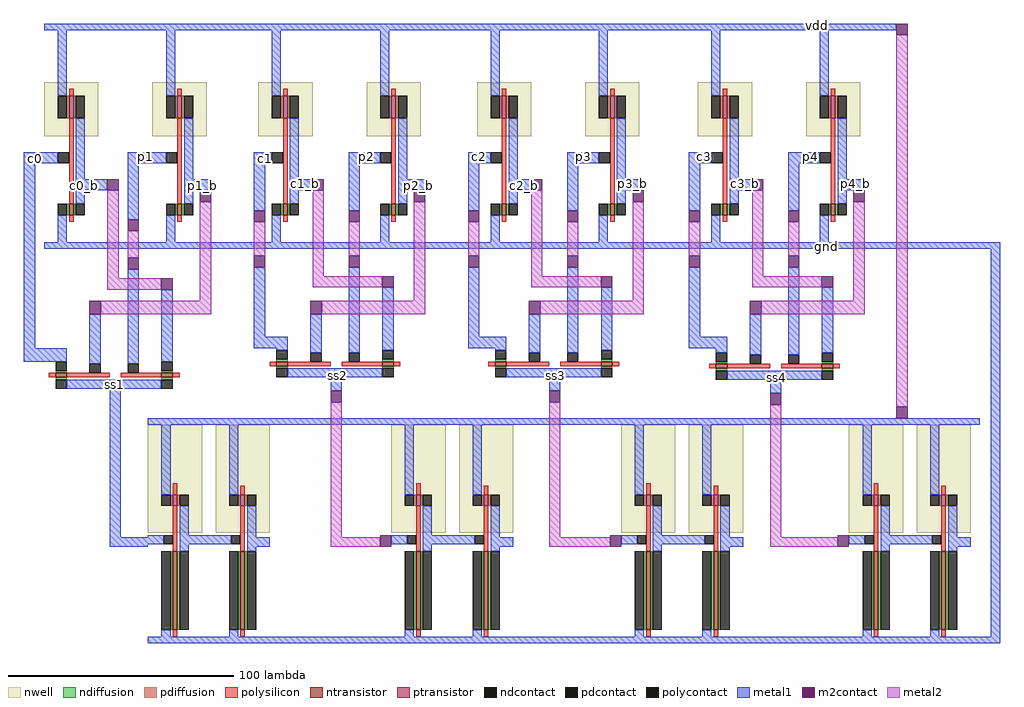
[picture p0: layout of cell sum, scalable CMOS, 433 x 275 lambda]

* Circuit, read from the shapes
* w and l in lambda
.subckt sum c0 c1 c1_b c2 c2_b c3 c3_b gnd p1 p2 p2_b p3 p3_b p4 p4_b vdd
M1 c0 n1 n2 VSUBS nfet w=5 l=2
M2 n3 c0 gnd VSUBS nfet w=5 l=2
M3 n3 p1 n2 VSUBS nfet w=5 l=2
M4 n4 n2 gnd VSUBS nfet w=35 l=2
M5 n1 p1 gnd VSUBS nfet w=5 l=2
M6 n5 n4 gnd VSUBS nfet w=35 l=2
M7 c1 p2_b n6 VSUBS nfet w=5 l=2
M8 c1_b c1 gnd VSUBS nfet w=5 l=2
M9 c1_b p2 n6 VSUBS nfet w=5 l=2
M10 p2_b p2 gnd VSUBS nfet w=5 l=2
M11 n7 n6 gnd VSUBS nfet w=35 l=2
M12 n8 n7 gnd VSUBS nfet w=35 l=2
M13 c2 p3_b n9 VSUBS nfet w=5 l=2
M14 c2_b c2 gnd VSUBS nfet w=5 l=2
M15 c2_b p3 n9 VSUBS nfet w=5 l=2
M16 p3_b p3 gnd VSUBS nfet w=5 l=2
M17 n10 n9 gnd VSUBS nfet w=35 l=2
M18 n11 n10 gnd VSUBS nfet w=35 l=2
M19 c3 p4_b n12 VSUBS nfet w=5 l=2
M20 c3_b c3 gnd VSUBS nfet w=5 l=2
M21 c3_b p4 n12 VSUBS nfet w=5 l=2
M22 p4_b p4 gnd VSUBS nfet w=5 l=2
M23 n13 n12 gnd VSUBS nfet w=35 l=2
M24 n14 n13 gnd VSUBS nfet w=35 l=2
M25 n3 c0 vdd n15 pfet w=10 l=2
M26 n4 n2 vdd n16 pfet w=5 l=2
M27 n1 p1 vdd n17 pfet w=10 l=2
M28 n5 n4 vdd n18 pfet w=5 l=2
M29 c1_b c1 vdd n19 pfet w=10 l=2
M30 p2_b p2 vdd n20 pfet w=10 l=2
M31 n7 n6 vdd n21 pfet w=5 l=2
M32 n8 n7 vdd n22 pfet w=5 l=2
M33 c2_b c2 vdd n23 pfet w=10 l=2
M34 p3_b p3 vdd n24 pfet w=10 l=2
M35 n10 n9 vdd n25 pfet w=5 l=2
M36 n11 n10 vdd n26 pfet w=5 l=2
M37 c3_b c3 vdd n27 pfet w=10 l=2
M38 p4_b p4 vdd n28 pfet w=10 l=2
M39 n13 n12 vdd n29 pfet w=5 l=2
M40 n14 n13 vdd n30 pfet w=5 l=2
.ends

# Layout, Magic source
magic
tech scmos
<< nwell >>
rect 95 50 119 74
rect 143 50 167 74
rect 192 50 216 74
rect 240 50 264 74
rect 290 50 314 74
rect 338 50 362 74
<< ntransistor >>
rect 106 15 108 20
rect 154 15 156 20
rect 203 15 205 20
rect 251 15 253 20
rect 301 15 303 20
rect 349 15 351 20
<< ptransistor >>
rect 106 58 108 68
rect 154 58 156 68
rect 203 58 205 68
rect 251 58 253 68
rect 301 58 303 68
rect 349 58 351 68
<< ndiffusion >>
rect 105 15 106 20
rect 108 15 109 20
rect 153 15 154 20
rect 156 15 157 20
rect 202 15 203 20
rect 205 15 206 20
rect 250 15 251 20
rect 253 15 254 20
rect 300 15 301 20
rect 303 15 304 20
rect 348 15 349 20
rect 351 15 352 20
<< pdiffusion >>
rect 105 58 106 68
rect 108 58 109 68
rect 153 58 154 68
rect 156 58 157 68
rect 202 58 203 68
rect 205 58 206 68
rect 250 58 251 68
rect 253 58 254 68
rect 300 58 301 68
rect 303 58 304 68
rect 348 58 349 68
rect 351 58 352 68
<< ndcontact >>
rect 101 15 105 20
rect 109 15 113 20
rect 149 15 153 20
rect 157 15 161 20
rect 198 15 202 20
rect 206 15 210 20
rect 246 15 250 20
rect 254 15 258 20
rect 296 15 300 20
rect 304 15 308 20
rect 344 15 348 20
rect 352 15 356 20
<< pdcontact >>
rect 101 58 105 68
rect 109 58 113 68
rect 149 58 153 68
rect 157 58 161 68
rect 198 58 202 68
rect 206 58 210 68
rect 246 58 250 68
rect 254 58 258 68
rect 296 58 300 68
rect 304 58 308 68
rect 344 58 348 68
rect 352 58 356 68
<< polysilicon >>
rect 106 68 108 71
rect 154 68 156 71
rect 203 68 205 71
rect 251 68 253 71
rect 301 68 303 71
rect 349 68 351 71
rect 106 20 108 58
rect 154 20 156 58
rect 203 20 205 58
rect 251 20 253 58
rect 301 20 303 58
rect 349 20 351 58
rect 106 12 108 15
rect 154 12 156 15
rect 203 12 205 15
rect 251 12 253 15
rect 301 12 303 15
rect 349 12 351 15
<< polycontact >>
rect 101 38 106 43
rect 149 38 154 43
rect 198 38 203 43
rect 246 38 251 43
rect 296 38 301 43
rect 344 38 349 43
<< metal1 >>
rect 24 97 378 100
rect 101 68 105 97
rect 149 68 153 97
rect 198 68 202 97
rect 246 68 250 97
rect 296 68 300 97
rect 344 68 348 97
rect -9 38 0 43
rect 37 38 48 43
rect 93 38 101 43
rect -9 -44 -4 38
rect 24 26 28 31
rect 37 13 42 38
rect 72 26 74 31
rect 93 17 98 38
rect 109 31 113 58
rect 135 38 149 43
rect 109 26 119 31
rect 109 20 113 26
rect 135 17 140 38
rect 157 31 161 58
rect 188 38 198 43
rect 157 26 169 31
rect 157 20 161 26
rect 101 3 105 15
rect 188 17 193 38
rect 206 31 210 58
rect 232 38 246 43
rect 206 26 216 31
rect 206 20 210 26
rect 149 3 153 15
rect 232 17 237 38
rect 254 31 258 58
rect 286 38 296 43
rect 254 26 266 31
rect 254 20 258 26
rect 198 3 202 15
rect 286 17 291 38
rect 304 31 308 58
rect 330 38 344 43
rect 304 26 314 31
rect 304 20 308 26
rect 246 3 250 15
rect 330 17 335 38
rect 352 31 356 58
rect 352 26 364 31
rect 352 20 356 26
rect 296 3 300 15
rect 344 3 348 15
rect 24 0 424 3
rect 20 -44 25 -29
rect 37 -44 42 -9
rect 52 -44 57 -18
rect 93 -39 98 -8
rect 118 -39 123 -29
rect 135 -39 140 -8
rect 150 -39 155 -17
rect 188 -39 193 -8
rect 215 -39 220 -29
rect 232 -39 237 -8
rect 247 -39 252 -17
rect 286 -39 291 -8
rect 93 -44 106 -39
rect 188 -44 204 -39
rect 286 -40 303 -39
rect 313 -40 318 -29
rect 330 -40 335 -8
rect 345 -40 350 -17
rect 286 -44 302 -40
rect -9 -50 8 -44
rect 29 -128 34 -68
rect 100 -78 415 -75
rect 29 -132 46 -128
rect 420 -172 424 0
rect 100 -175 424 -172
<< m2contact >>
rect 378 95 383 100
rect 28 26 33 31
rect 69 21 74 26
rect 37 8 42 13
rect 119 26 124 31
rect 93 12 98 17
rect 164 21 169 26
rect 135 12 140 17
rect 216 26 221 31
rect 188 12 193 17
rect 261 21 266 26
rect 232 12 237 17
rect 314 26 319 31
rect 286 12 291 17
rect 359 21 364 26
rect 330 12 335 17
rect 37 -9 42 -4
rect 20 -29 25 -23
rect 93 -8 98 -3
rect 52 -18 57 -13
rect 135 -8 140 -3
rect 118 -29 123 -23
rect 188 -8 193 -3
rect 150 -17 155 -12
rect 232 -8 237 -3
rect 215 -29 220 -23
rect 286 -8 291 -3
rect 247 -17 252 -12
rect 330 -8 335 -3
rect 313 -29 318 -23
rect 345 -17 350 -12
rect 127 -68 132 -63
rect 224 -68 229 -63
rect 322 -69 327 -64
rect 378 -75 383 -70
rect 149 -132 154 -127
rect 251 -132 256 -127
rect 352 -132 357 -127
<< metal2 >>
rect 28 -13 33 26
rect 37 -4 42 8
rect 28 -18 52 -13
rect 69 -23 74 21
rect 93 -3 98 12
rect 119 -12 124 26
rect 135 -3 140 12
rect 119 -17 150 -12
rect 164 -23 169 21
rect 188 -3 193 12
rect 216 -12 221 26
rect 232 -3 237 12
rect 216 -17 247 -12
rect 261 -23 266 21
rect 286 -3 291 12
rect 314 -12 319 26
rect 330 -3 335 12
rect 314 -17 345 -12
rect 359 -23 364 21
rect 25 -29 74 -23
rect 123 -29 169 -23
rect 220 -29 266 -23
rect 318 -29 364 -23
rect 127 -128 132 -68
rect 127 -132 149 -128
rect 224 -128 229 -68
rect 224 -132 251 -128
rect 322 -128 327 -69
rect 378 -70 383 95
rect 322 -132 352 -128
use not  not_0
transform 1 0 0 0 1 47
box 0 -47 24 53
use not  not_1
transform 1 0 48 0 1 47
box 0 -47 24 53
use xor  xor_0
transform 0 -1 32 1 0 -68
box 0 -28 24 30
use xor  xor_1
transform 0 -1 130 1 0 -63
box 0 -28 24 30
use xor  xor_2
transform 0 -1 227 1 0 -63
box 0 -28 24 30
use xor  xor_3
transform 0 -1 325 1 0 -64
box 0 -28 24 30
use buff  buff_0
transform 1 0 46 0 1 -126
box 0 -49 54 51
use buff  buff_1
transform 1 0 154 0 1 -126
box 0 -49 54 51
use buff  buff_2
transform 1 0 256 0 1 -126
box 0 -49 54 51
use buff  buff_3
transform 1 0 357 0 1 -126
box 0 -49 54 51
<< labels >>
rlabel metal1 347 1 347 1 1 gnd
rlabel metal1 343 99 343 99 4 vdd
rlabel metal1 -4 40 -4 40 3 c0
rlabel space 18 28 18 28 1 c0_b
rlabel metal1 45 41 45 41 1 p1
rlabel space 70 28 70 28 1 p1_b
rlabel metal1 98 40 98 40 1 c1
rlabel metal1 116 29 116 29 1 c1_b
rlabel metal1 143 41 143 41 1 p2
rlabel metal1 166 28 166 28 1 p2_b
rlabel metal1 193 41 193 41 1 c2
rlabel metal1 213 28 213 28 1 c2_b
rlabel metal1 239 41 239 41 1 p3
rlabel metal1 261 29 261 29 1 p3_b
rlabel metal1 293 41 293 41 1 c3
rlabel metal1 311 29 311 29 1 c3_b
rlabel metal1 340 41 340 41 1 p4
rlabel metal1 360 29 360 29 7 p4_b
rlabel space 31 -60 31 -60 1 ss1
rlabel space 130 -56 130 -56 1 ss2
rlabel space 227 -56 227 -56 1 ss3
rlabel space 325 -57 325 -57 1 ss4
<< end >>

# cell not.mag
magic
tech scmos
<< nwell >>
rect 0 3 24 27
<< ntransistor >>
rect 11 -32 13 -27
<< ptransistor >>
rect 11 11 13 21
<< ndiffusion >>
rect 10 -32 11 -27
rect 13 -32 14 -27
<< pdiffusion >>
rect 10 11 11 21
rect 13 11 14 21
<< ndcontact >>
rect 6 -32 10 -27
rect 14 -32 18 -27
<< pdcontact >>
rect 6 11 10 21
rect 14 11 18 21
<< polysilicon >>
rect 11 21 13 24
rect 11 -27 13 11
rect 11 -35 13 -32
<< polycontact >>
rect 6 -9 11 -4
<< metal1 >>
rect 0 50 24 53
rect 6 21 10 50
rect 0 -9 6 -4
rect 14 -16 18 11
rect 14 -21 24 -16
rect 14 -27 18 -21
rect 6 -44 10 -32
rect 0 -47 24 -44
<< end >>

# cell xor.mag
magic
tech scmos
<< ntransistor >>
rect 11 22 13 27
rect 11 -25 13 -20
<< ndiffusion >>
rect 10 22 11 27
rect 13 22 14 27
rect 10 -25 11 -20
rect 13 -25 14 -20
<< ndcontact >>
rect 6 22 10 27
rect 14 22 18 27
rect 6 -25 10 -20
rect 14 -25 18 -20
<< polysilicon >>
rect 11 27 13 30
rect 11 3 13 22
rect 11 -20 13 -2
rect 11 -28 13 -25
<< polycontact >>
rect 13 7 17 12
rect 13 -10 17 -5
<< metal1 >>
rect 18 22 24 27
rect 6 3 10 22
rect 17 7 24 12
rect 0 -2 10 3
rect 6 -20 10 -2
rect 17 -10 24 -5
rect 18 -25 24 -20
<< end >>

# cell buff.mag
magic
tech scmos
<< nwell >>
rect 0 0 24 48
rect 30 0 54 48
<< ntransistor >>
rect 11 -43 13 -8
rect 41 -43 43 -8
<< ptransistor >>
rect 11 12 13 17
rect 41 12 43 17
<< ndiffusion >>
rect 10 -43 11 -8
rect 13 -43 14 -8
rect 40 -43 41 -8
rect 43 -43 44 -8
<< pdiffusion >>
rect 10 12 11 17
rect 13 12 14 17
rect 40 12 41 17
rect 43 12 44 17
<< ndcontact >>
rect 6 -43 10 -8
rect 14 -43 18 -8
rect 36 -43 40 -8
rect 44 -43 48 -8
<< pdcontact >>
rect 6 12 10 17
rect 14 12 18 17
rect 36 12 40 17
rect 44 12 48 17
<< polysilicon >>
rect 11 17 13 22
rect 41 17 43 21
rect 11 -8 13 12
rect 41 -8 43 12
rect 11 -46 13 -43
rect 41 -46 43 -43
<< polycontact >>
rect 7 -5 11 -1
rect 37 -5 41 -1
<< metal1 >>
rect 0 48 54 51
rect 6 17 10 48
rect 36 17 40 48
rect 14 -1 18 12
rect 0 -5 7 -1
rect 14 -5 37 -1
rect 44 -2 48 12
rect 14 -8 18 -5
rect 44 -6 54 -2
rect 44 -8 48 -6
rect 6 -46 10 -43
rect 36 -46 40 -43
rect 0 -49 54 -46
<< end >>
